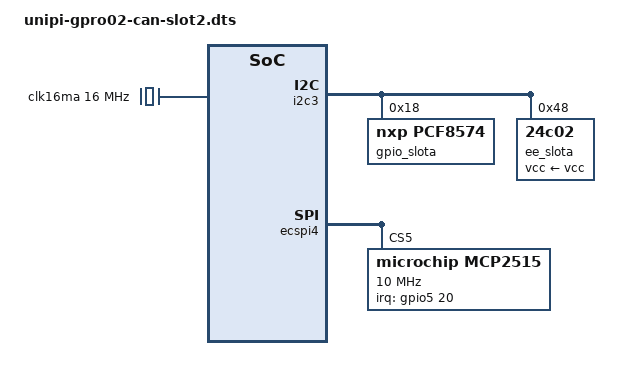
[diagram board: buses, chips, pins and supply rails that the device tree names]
// SPDX-License-Identifier: (GPL-2.0+ OR MIT)
/*
 * Device Tree fragment for Unipi Gate PRO IQRF board, v0.3
 *
 * Copyright 2021 Faster CZ, spol. s r.o.
 *
 * IQRF card is in slot A.
 */

/dts-v1/;

#include <dt-bindings/clock/imx8mm-clock.h>
#include <dt-bindings/reset/imx8mq-reset.h>
#include <dt-bindings/gpio/gpio.h>
#include <dt-bindings/input/input.h>
#include <dt-bindings/interrupt-controller/arm-gic.h>
#include <dt-bindings/reset/imx8mm-dispmix.h>
#include <dt-bindings/thermal/thermal.h>

#include "imx8mm-pinfunc.h"

/plugin/;

/ {
	fragment@0 {
		target = <&i2c3>;
		__overlay__ {
       		#address-cells = <1>;
	    	#size-cells = <0>;

	        gpio_slota: pca9501@18 {
        		compatible = "nxp,pcf8574";
		        gpio-controller;
        		#gpio-cells = <2>;
		        reg = <0x18>;
        	    gpio-line-names = "SLOT2_CAN_LED",
		        	  "SLOT2_CAN_RESET",
        			  "",
		        	  "","","","","";
	        };

            ee_slota@58 {
                compatible = "24c02";
                reg = <0x48>;
                vcc-supply = <&vcc>;
            };
		};
	};

	fragment@1 {
		target-path = "/";
		__overlay__ {
            /* Fixed crystal dedicated to mcp251x */
            clk16ma: clock-16ma {
                compatible = "fixed-clock";
                #clock-cells = <0>;
                clock-frequency = <16000000>;
                clock-output-names = "clk16m";
            };
		};
	};

	fragment@2 {
		target = <&ecspi4>;
		__overlay__ {
	        status = "okay";
       		#address-cells = <1>;
	    	#size-cells = <0>;

        	mcp2515: can@5 {
		        compatible = "microchip,mcp2515";
        		pinctrl-names = "default";
		        pinctrl-0 = <&pinctrl_ecspi_int>;
            	reg = <5>;
                clocks = <&clk16ma>;
                interrupt-parent = <&gpio5>;
                interrupts = <20 IRQ_TYPE_EDGE_FALLING>;   // gpio5.20
		        spi-max-frequency = <10000000>;
        		//vdd-supply = <&reg_3v3>;
		        //xceiver-supply = <&reg_5v0>;
        		status = "okay";
	        };
		};
	};
};

